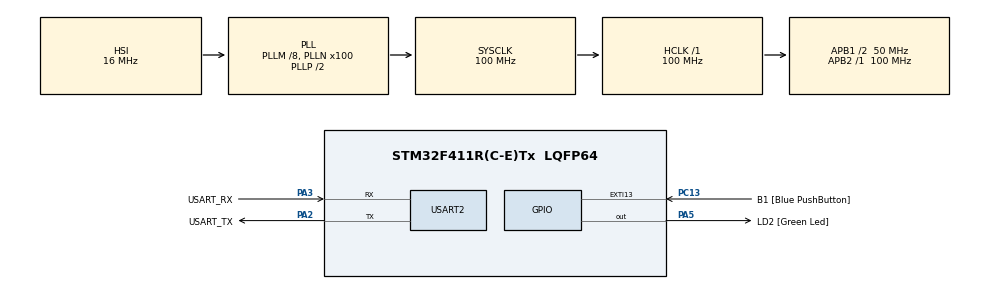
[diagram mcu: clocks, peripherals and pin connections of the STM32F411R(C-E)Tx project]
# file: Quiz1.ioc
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Mcu.Family=STM32F4
Mcu.Name=STM32F411R(C-E)Tx
Mcu.Package=LQFP64
NVIC.PriorityGroup=NVIC_PRIORITYGROUP_0
NVIC.USART2_IRQn=true\:0\:0\:false\:false\:true\:true\:true\:true
PA13.GPIO_Label=TMS
PA13.Mode=Serial_Wire
PA13.Signal=SYS_JTMS-SWDIO
PA14.GPIO_Label=TCK
PA14.Mode=Serial_Wire
PA14.Signal=SYS_JTCK-SWCLK
PA2.GPIO_Label=USART_TX
PA2.Mode=Asynchronous
PA2.Signal=USART2_TX
PA3.GPIO_Label=USART_RX
PA3.Mode=Asynchronous
PA3.Signal=USART2_RX
PA5.GPIO_Label=LD2 [Green Led]
PA5.Signal=GPIO_Output
PB3.GPIO_Label=SWO
PB3.Signal=SYS_JTDO-SWO
PC13-ANTI_TAMP.GPIO_Label=B1 [Blue PushButton]
PC13-ANTI_TAMP.GPIO_ModeDefaultEXTI=GPIO_MODE_IT_FALLING
PC13-ANTI_TAMP.Signal=GPXTI13
PC14-OSC32_IN.Mode=LSE-External-Oscillator
PC14-OSC32_IN.Signal=RCC_OSC32_IN
PC15-OSC32_OUT.Mode=LSE-External-Oscillator
PC15-OSC32_OUT.Signal=RCC_OSC32_OUT
PH0\ -\ OSC_IN.Mode=HSE-External-Clock-Source
PH0\ -\ OSC_IN.Signal=RCC_OSC_IN
PH1\ -\ OSC_OUT.Mode=HSE-External-Clock-Source
PH1\ -\ OSC_OUT.Signal=RCC_OSC_OUT
ProjectManager.HeapSize=0x200
ProjectManager.StackSize=0x400
ProjectManager.TargetToolchain=STM32CubeIDE
RCC.48MHZClocksFreq_Value=50000000
RCC.AHBFreq_Value=100000000
RCC.APB1CLKDivider=RCC_HCLK_DIV2
RCC.APB1Freq_Value=50000000
RCC.APB1TimFreq_Value=100000000
RCC.APB2Freq_Value=100000000
RCC.APB2TimFreq_Value=100000000
RCC.CortexFreq_Value=100000000
RCC.FLatency-AdvancedSettings=FLASH_LATENCY_3
RCC.HCLKFreq_Value=100000000
RCC.HSE_VALUE=8000000
RCC.HSI_VALUE=16000000
RCC.PLLM=8
RCC.PLLN=100
RCC.SYSCLKFreq_VALUE=100000000
RCC.SYSCLKSource=RCC_SYSCLKSOURCE_PLLCLK
RCC.VCOOutputFreq_Value=200000000
USART2.VirtualMode=VM_ASYNC
board=NUCLEO-F411RE

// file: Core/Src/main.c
/* USER CODE BEGIN Header */
/**
  ******************************************************************************
  * @file           : main.c
  * @brief          : Main program body
  ******************************************************************************
  * @attention
  *
  * Copyright (c) 2023 STMicroelectronics.
  * All rights reserved.
  *
  * This software is licensed under terms that can be found in the LICENSE file
  * in the root directory of this software component.
  * If no LICENSE file comes with this software, it is provided AS-IS.
  *
  ******************************************************************************
  */
/* USER CODE END Header */
#include "main.h"

UART_HandleTypeDef huart2;

void SystemClock_Config(void);
static void MX_GPIO_Init(void);
static void MX_USART2_UART_Init(void);

/* USER CODE BEGIN 0 */
uint8_t data[1];
int poweringDown = 0;
HAL_UART_RxCpltCallback(UART_HandleTypeDef *huart){
//	HAL_UART_Transmit(&huart2, data, 1, 0);
	if((data[0] == 'q' || data[0] == 'Q') && (poweringDown == 0 || poweringDown == 1)){
		poweringDown = 1;
	}else if(data[0] == '!' && poweringDown == 1){
		poweringDown = 2;
		HAL_GPIO_WritePin(GPIOA, GPIO_PIN_5, GPIO_PIN_RESET);
		HAL_UART_Transmit(&huart2, "Power Down", 10, 100);
	}else if(poweringDown != 2){
		poweringDown = 0;
	}
	data[0] = '\0';
	HAL_UART_Receive_IT(&huart2, data, 1);
}
/* USER CODE END 0 */

int main(void)
{

  /* MCU Configuration--------------------------------------------------------*/

  /* Reset of all peripherals, Initializes the Flash interface and the Systick. */
  HAL_Init();

  /* Configure the system clock */
  SystemClock_Config();

  /* Initialize all configured peripherals */
  MX_GPIO_Init();
  MX_USART2_UART_Init();
  /* USER CODE BEGIN 2 */
  HAL_UART_Receive_IT(&huart2, data, 1);
  /* USER CODE END 2 */

  /* Infinite loop */
  /* USER CODE BEGIN WHILE */
  int state = 2,pressing = 0,pressingLength;
  int delayTime = 25,cnt = 0;
  int timeSchedule[3][2] = {{250/delayTime,1750/delayTime},{250/delayTime,3750/delayTime},{250/delayTime,750/delayTime}};
  int onTime = 250/delayTime,offTime = 1000/delayTime;
  while (1)
  {
	if(poweringDown == 2)	break;
	int buttonPressed = !HAL_GPIO_ReadPin(GPIOC, GPIO_PIN_13);
	if(buttonPressed && pressing == 0){
		pressing = 1;
		pressingLength = 0;
	}else if(buttonPressed){
		pressingLength++;
	}else if(!buttonPressed && pressing == 1){
		pressing = 0;
		if(pressingLength <= 1000/delayTime)		state = 0;
		else if(pressingLength <= 3000/delayTime)	state = 1;
		else										state = 2;
		onTime = timeSchedule[state][0];
		offTime = onTime + timeSchedule[state][1];
	}
	cnt++;
	if(cnt <= onTime)	HAL_GPIO_WritePin(GPIOA, GPIO_PIN_5, GPIO_PIN_SET);
	else				HAL_GPIO_WritePin(GPIOA, GPIO_PIN_5, GPIO_PIN_RESET);
	cnt%=offTime;
	HAL_Delay(delayTime);
    /* USER CODE END WHILE */

    /* USER CODE BEGIN 3 */
  }
  HAL_GPIO_WritePin(GPIOA, GPIO_PIN_5, GPIO_PIN_RESET);
  /* USER CODE END 3 */
}

void SystemClock_Config(void)
{
  RCC_OscInitTypeDef RCC_OscInitStruct = {0};
  RCC_ClkInitTypeDef RCC_ClkInitStruct = {0};

  /** Configure the main internal regulator output voltage
  */
  __HAL_RCC_PWR_CLK_ENABLE();
  __HAL_PWR_VOLTAGESCALING_CONFIG(PWR_REGULATOR_VOLTAGE_SCALE1);

  /** Initializes the RCC Oscillators according to the specified parameters
  * in the RCC_OscInitTypeDef structure.
  */
  RCC_OscInitStruct.OscillatorType = RCC_OSCILLATORTYPE_HSI;
  RCC_OscInitStruct.HSIState = RCC_HSI_ON;
  RCC_OscInitStruct.HSICalibrationValue = RCC_HSICALIBRATION_DEFAULT;
  RCC_OscInitStruct.PLL.PLLState = RCC_PLL_ON;
  RCC_OscInitStruct.PLL.PLLSource = RCC_PLLSOURCE_HSI;
  RCC_OscInitStruct.PLL.PLLM = 8;
  RCC_OscInitStruct.PLL.PLLN = 100;
  RCC_OscInitStruct.PLL.PLLP = RCC_PLLP_DIV2;
  RCC_OscInitStruct.PLL.PLLQ = 4;
  if (HAL_RCC_OscConfig(&RCC_OscInitStruct) != HAL_OK)
  {
    Error_Handler();
  }

  /** Initializes the CPU, AHB and APB buses clocks
  */
  RCC_ClkInitStruct.ClockType = RCC_CLOCKTYPE_HCLK|RCC_CLOCKTYPE_SYSCLK
                              |RCC_CLOCKTYPE_PCLK1|RCC_CLOCKTYPE_PCLK2;
  RCC_ClkInitStruct.SYSCLKSource = RCC_SYSCLKSOURCE_PLLCLK;
  RCC_ClkInitStruct.AHBCLKDivider = RCC_SYSCLK_DIV1;
  RCC_ClkInitStruct.APB1CLKDivider = RCC_HCLK_DIV2;
  RCC_ClkInitStruct.APB2CLKDivider = RCC_HCLK_DIV1;

  if (HAL_RCC_ClockConfig(&RCC_ClkInitStruct, FLASH_LATENCY_3) != HAL_OK)
  {
    Error_Handler();
  }
}

static void MX_USART2_UART_Init(void)
{

  huart2.Instance = USART2;
  huart2.Init.BaudRate = 115200;
  huart2.Init.WordLength = UART_WORDLENGTH_8B;
  huart2.Init.StopBits = UART_STOPBITS_1;
  huart2.Init.Parity = UART_PARITY_NONE;
  huart2.Init.Mode = UART_MODE_TX_RX;
  huart2.Init.HwFlowCtl = UART_HWCONTROL_NONE;
  huart2.Init.OverSampling = UART_OVERSAMPLING_16;
  if (HAL_UART_Init(&huart2) != HAL_OK)
  {
    Error_Handler();
  }

}

static void MX_GPIO_Init(void)
{
  GPIO_InitTypeDef GPIO_InitStruct = {0};

  /* GPIO Ports Clock Enable */
  __HAL_RCC_GPIOC_CLK_ENABLE();
  __HAL_RCC_GPIOH_CLK_ENABLE();
  __HAL_RCC_GPIOA_CLK_ENABLE();
  __HAL_RCC_GPIOB_CLK_ENABLE();

  /*Configure GPIO pin Output Level */
  HAL_GPIO_WritePin(LD2_GPIO_Port, LD2_Pin, GPIO_PIN_RESET);

  /*Configure GPIO pin : B1_Pin */
  GPIO_InitStruct.Pin = B1_Pin;
  GPIO_InitStruct.Mode = GPIO_MODE_IT_FALLING;
  GPIO_InitStruct.Pull = GPIO_NOPULL;
  HAL_GPIO_Init(B1_GPIO_Port, &GPIO_InitStruct);

  /*Configure GPIO pin : LD2_Pin */
  GPIO_InitStruct.Pin = LD2_Pin;
  GPIO_InitStruct.Mode = GPIO_MODE_OUTPUT_PP;
  GPIO_InitStruct.Pull = GPIO_NOPULL;
  GPIO_InitStruct.Speed = GPIO_SPEED_FREQ_LOW;
  HAL_GPIO_Init(LD2_GPIO_Port, &GPIO_InitStruct);

}

void Error_Handler(void)
{
  __disable_irq();
  while (1)
  {
  }
}
